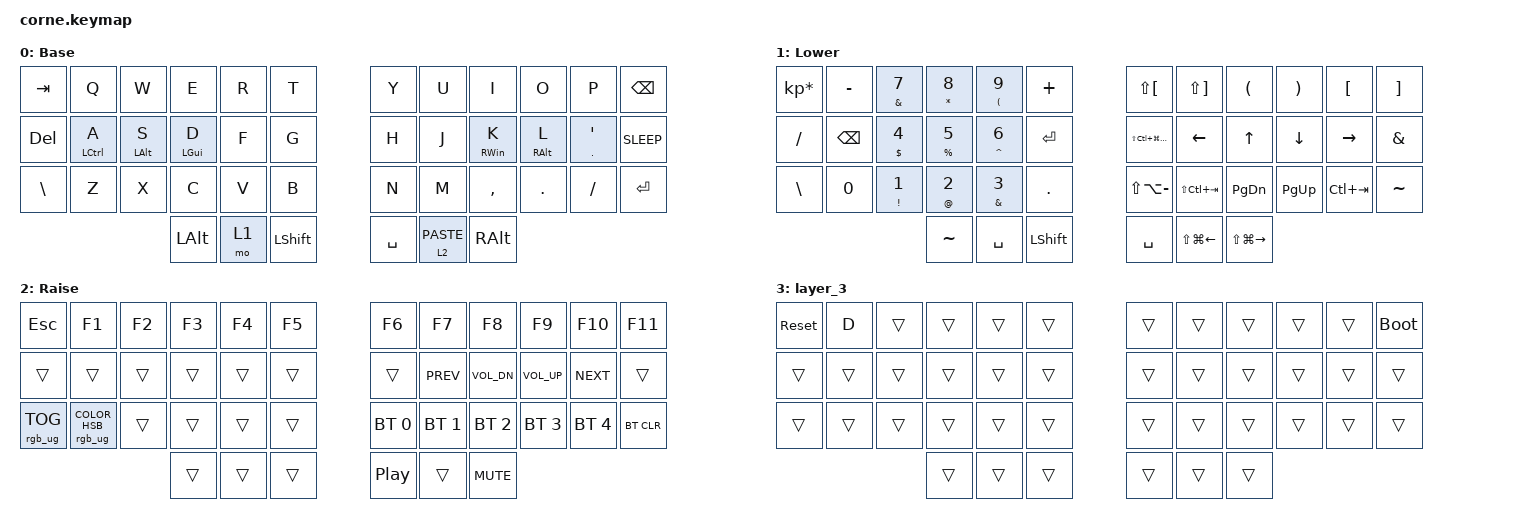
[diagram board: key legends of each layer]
/*
 * Copyright (c) 2020 The ZMK Contributors
 *
 * SPDX-License-Identifier: MIT
 */

#include <behaviors.dtsi>
#include <dt-bindings/zmk/bt.h>
#include <dt-bindings/zmk/keys.h>
#include <dt-bindings/zmk/rgb.h>

&led_strip { chain-length = <21>; };

/ {
    combos {
        compatible = "zmk,combos";

        Semicolon {
            bindings = <&kp SEMI>;
            key-positions = <32 33>;
        };

        Layer3 {
            bindings = <&mo 3>;
            key-positions = <37 40>;
        };
    };

    behaviors {
        HMR: HMR {
            compatible = "zmk,behavior-hold-tap";
            label = "HMR";
            bindings = <&kp>, <&kp>;

            #binding-cells = <2>;
            flavor = "tap-preferred";
            tapping-term-ms = <280>;
            quick-tap-ms = <175>;
            hold-trigger-on-release;
            hold-trigger-key-positions = <0 1 2 3 4 5 12 13 14 15 16 17 24 25 26 27 28 29 36 37 38 39 41 40>;
        };

        HML: HML {
            compatible = "zmk,behavior-hold-tap";
            label = "HML";
            bindings = <&kp>, <&kp>;

            #binding-cells = <2>;
            tapping-term-ms = <280>;
            quick-tap-ms = <175>;
            flavor = "tap-preferred";
            hold-trigger-on-release;
            hold-trigger-key-positions = <6 7 8 9 10 11 18 19 20 21 22 23 30 31 32 33 34 35 39 40 41 38 37 36>;
        };
    };

    keymap {
        compatible = "zmk,keymap";

        default_layer {
            // -----------------------------------------------------------------------------------------
            // |  TAB |  Q  |  W  |  E  |  R  |  T  |   |  Y  |  U   |  I  |  O  |  P  | BKSP |
            // | CTRL |  A  |  S  |  D  |  F  |  G  |   |  H  |  J   |  K  |  L  |  ;  |  '   |
            // | SHFT |  Z  |  X  |  C  |  V  |  B  |   |  N  |  M   |  ,  |  .  |  /  | ESC  |
            //                    | GUI | LWR | SPC |   | ENT | RSE  | ALT |

            display-name = "Base";
            bindings = <
&kp TAB        &kp Q         &kp W        &kp E         &kp R  &kp T             &kp Y      &kp U          &kp I             &kp O             &kp P             &kp BSPC
&kp DELETE     &HML LCTRL A  &HML LALT S  &HML LGUI D   &kp F  &kp G             &kp H      &kp J          &HMR RIGHT_WIN K  &HMR RIGHT_ALT L  &HMR PERIOD APOS  &kp K_SLEEP
&kp BACKSLASH  &kp Z         &kp X        &kp C         &kp V  &kp B             &kp N      &kp M          &kp COMMA         &kp DOT           &kp FSLH          &kp RET
                                          &kp LEFT_ALT  &mo 1  &kp LEFT_SHIFT    &kp SPACE  &lt 2 K_PASTE  &kp RALT
            >;
        };

        lower_layer {
            // -----------------------------------------------------------------------------------------
            // |  TAB |  1  |  2  |  3  |  4  |  5  |   |  6  |  7  |  8  |  9  |  0  | BKSP |
            // | BTCLR| BT1 | BT2 | BT3 | BT4 | BT5 |   | LFT | DWN |  UP | RGT |     |      |
            // | SHFT |     |     |     |     |     |   |     |     |     |     |     |      |
            //                    | GUI |     | SPC |   | ENT |     | ALT |

            display-name = "Lower";
            bindings = <
&kp KP_MULTIPLY  &kp MINUS      &mt AMPERSAND N7          &mt ASTERISK N8       &mt LEFT_PARENTHESIS N9  &kp PLUS          &kp LS(LEFT_BRACKET)      &kp LS(RIGHT_BRACKET)  &kp LEFT_PARENTHESIS  &kp RIGHT_PARENTHESIS  &kp LEFT_BRACKET  &kp RBKT
&kp SLASH        &kp BACKSPACE  &mt DOLLAR NUMBER_4       &mt PERCENT N5        &mt CARET NUMBER_6       &kp ENTER         &kp LS(LC(LG(LA(LEFT))))  &kp LEFT               &kp UP                &kp DOWN               &kp RIGHT         &kp AMPERSAND
&kp BACKSLASH    &kp N0         &mt EXCLAMATION NUMBER_1  &mt AT_SIGN NUMBER_2  &mt AMPERSAND NUMBER_3   &kp PERIOD        &kp LS(LA(MINUS))         &kp LS(LC(TAB))        &kp PAGE_DOWN         &kp PG_UP              &kp LC(TAB)       &kp TILDE
                                                          &kp TILDE             &kp SPACE                &kp LEFT_SHIFT    &kp SPACE                 &kp LS(LG(LEFT))       &kp LS(LG(RIGHT))
            >;
        };

        raise_layer {
            // -----------------------------------------------------------------------------------------
            // |  TAB |  !  |  @  |  #  |  $  |  %  |   |  ^  |  &  |  *  |  (  |  )  | BKSP |
            // | CTRL |     |     |     |     |     |   |  -  |  =  |  [  |  ]  |  \  |  `   |
            // | SHFT |     |     |     |     |     |   |  _  |  +  |  {  |  }  | "|" |  ~   |
            //                    | GUI |     | SPC |   | ENT |     | ALT |

            display-name = "Raise";
            bindings = <
&kp ESCAPE       &kp F1                            &kp F2  &kp F3  &kp F4  &kp F5    &kp F6        &kp F7        &kp F8        &kp F9        &kp F10       &kp F11
&trans           &trans                            &trans  &trans  &trans  &trans    &trans        &kp C_PREV    &kp C_VOL_DN  &kp C_VOL_UP  &kp C_NEXT    &trans
&rgb_ug RGB_TOG  &rgb_ug RGB_COLOR_HSB(104,66,38)  &trans  &trans  &trans  &trans    &bt BT_SEL 0  &bt BT_SEL 1  &bt BT_SEL 2  &bt BT_SEL 3  &bt BT_SEL 4  &bt BT_CLR
                                                           &trans  &trans  &trans    &kp C_PP      &trans        &kp C_MUTE
            >;
        };

        layer_3 {
            bindings = <
&sys_reset  &kp D   &trans  &trans  &trans  &trans    &trans  &trans  &trans  &trans  &trans  &bootloader
&trans      &trans  &trans  &trans  &trans  &trans    &trans  &trans  &trans  &trans  &trans  &trans
&trans      &trans  &trans  &trans  &trans  &trans    &trans  &trans  &trans  &trans  &trans  &trans
                            &trans  &trans  &trans    &trans  &trans  &trans
            >;
        };
    };
};
